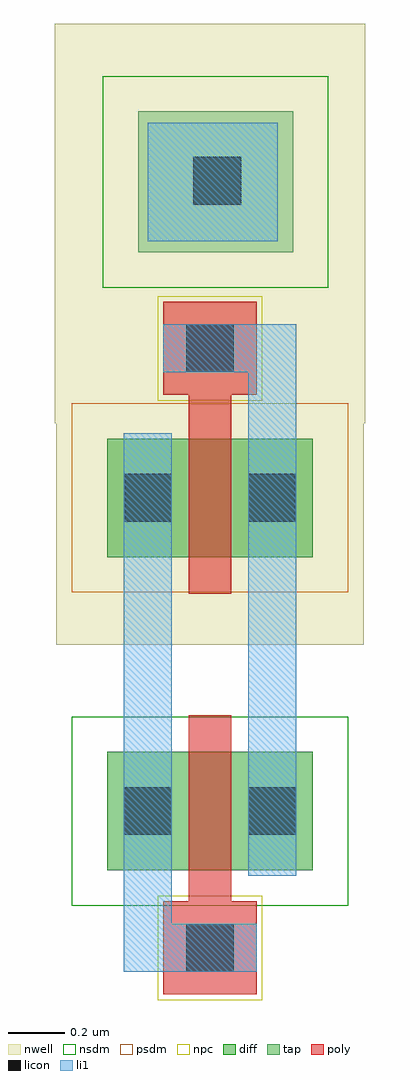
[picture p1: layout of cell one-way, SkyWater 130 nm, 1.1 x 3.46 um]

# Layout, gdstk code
import gdstk
lib = gdstk.Library(unit=1e-6, precision=1e-09)
def R(c, l, rs):  # rectangles x0, y0, x1, y1
    for r in rs: c.add(gdstk.rectangle(r[:2], r[2:], *l))
nwell = (64, 20)
diff = (65, 20)
tap = (65, 44)
poly = (66, 20)
licon = (66, 44)
li1 = (67, 20)
nsdm = (93, 44)
psdm = (94, 20)
npc = (95, 20)

sky130_fd_pr__pfet_01v8_ = lib.new_cell('sky130_fd_pr__pfet_01v8_owy61o')
R(sky130_fd_pr__pfet_01v8_, nwell, [(-0.545,-0.615,0.545,0.615)])
R(sky130_fd_pr__pfet_01v8_, diff, [(-0.365,-0.305,0.365,0.115)])
R(sky130_fd_pr__pfet_01v8_, poly, [(-0.075,-0.435,0.075,0.27), (-0.165,0.27,0.165,0.6)])
R(sky130_fd_pr__pfet_01v8_, licon, [(-0.305,-0.18,-0.135,-0.01), (0.135,-0.18,0.305,-0.01), (-0.085,0.35,0.085,0.52)])
R(sky130_fd_pr__pfet_01v8_, li1, [(-0.305,-0.325,-0.135,0.135), (0.135,-0.325,0.305,0.135), (-0.165,0.35,0.165,0.52)])
R(sky130_fd_pr__pfet_01v8_, psdm, [(-0.49,-0.43,0.49,0.24)])
R(sky130_fd_pr__pfet_01v8_, npc, [(-0.185,0.25,0.185,0.62)])

sky130_fd_pr__nfet_01v8_ = lib.new_cell('sky130_fd_pr__nfet_01v8_63vi9a')
R(sky130_fd_pr__nfet_01v8_, diff, [(-0.365,-0.055,0.365,0.365)])
R(sky130_fd_pr__nfet_01v8_, poly, [(-0.165,-0.495,0.165,-0.165), (-0.075,-0.165,0.075,0.495)])
R(sky130_fd_pr__nfet_01v8_, licon, [(-0.085,-0.415,0.085,-0.245), (-0.305,0.07,-0.135,0.24), (0.135,0.07,0.305,0.24)])
R(sky130_fd_pr__nfet_01v8_, li1, [(-0.165,-0.415,0.165,-0.245), (-0.305,-0.075,-0.135,0.385), (0.135,-0.075,0.305,0.385)])
R(sky130_fd_pr__nfet_01v8_, nsdm, [(-0.49,-0.18,0.49,0.49)])
R(sky130_fd_pr__nfet_01v8_, npc, [(-0.185,-0.515,0.185,-0.145)])

one_way = lib.new_cell('one-way')
R(one_way, nwell, [(-0.185,2.025,0.915,3.44)])
R(one_way, tap, [(0.11,2.63,0.66,3.13)])
R(one_way, licon, [(0.305,2.8,0.475,2.97)])
R(one_way, li1, [(0.06,0.08,0.23,0.81), (0.5,0.83,0.67,1.56), (0.06,0.84,0.23,1.57), (0.5,1.97,0.67,2.375), (0.145,2.67,0.605,3.09)])
R(one_way, nsdm, [(-0.015,2.505,0.785,3.255)])
one_way.add(gdstk.Reference(sky130_fd_pr__pfet_01v8_, (0.365,1.855)))
one_way.add(gdstk.Reference(sky130_fd_pr__nfet_01v8_, (0.365,0.495)))

lib.write_gds('one-way.gds')
